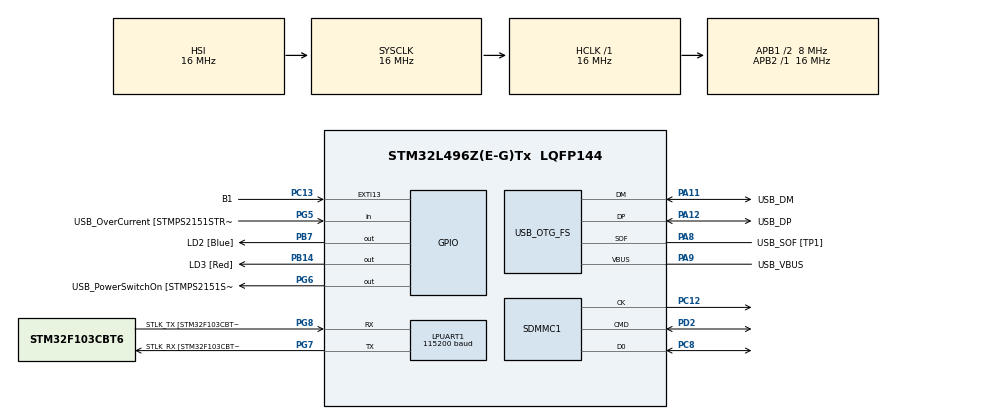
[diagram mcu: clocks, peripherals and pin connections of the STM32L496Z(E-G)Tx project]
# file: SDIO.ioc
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Dma.Request0=SDMMC1_RX
Dma.Request1=SDMMC1_TX
Dma.SDMMC1_RX.0.Direction=DMA_PERIPH_TO_MEMORY
Dma.SDMMC1_RX.0.Instance=DMA2_Channel4
Dma.SDMMC1_RX.0.MemDataAlignment=DMA_MDATAALIGN_WORD
Dma.SDMMC1_RX.0.MemInc=DMA_MINC_ENABLE
Dma.SDMMC1_RX.0.Mode=DMA_NORMAL
Dma.SDMMC1_RX.0.PeriphDataAlignment=DMA_PDATAALIGN_WORD
Dma.SDMMC1_RX.0.PeriphInc=DMA_PINC_DISABLE
Dma.SDMMC1_RX.0.Priority=DMA_PRIORITY_LOW
Dma.SDMMC1_TX.1.Direction=DMA_MEMORY_TO_PERIPH
Dma.SDMMC1_TX.1.Instance=DMA2_Channel5
Dma.SDMMC1_TX.1.MemDataAlignment=DMA_MDATAALIGN_WORD
Dma.SDMMC1_TX.1.MemInc=DMA_MINC_ENABLE
Dma.SDMMC1_TX.1.Mode=DMA_NORMAL
Dma.SDMMC1_TX.1.PeriphDataAlignment=DMA_PDATAALIGN_WORD
Dma.SDMMC1_TX.1.PeriphInc=DMA_PINC_DISABLE
Dma.SDMMC1_TX.1.Priority=DMA_PRIORITY_LOW
FATFS.USE_DMA_CODE_SD=1
FATFS._MAX_SS=512
LPUART1.BaudRate=115200
LPUART1.WordLength=UART_WORDLENGTH_8B
Mcu.Family=STM32L4
Mcu.Name=STM32L496Z(E-G)Tx
Mcu.Package=LQFP144
NVIC.DMA2_Channel4_IRQn=true\:0\:0\:false\:false\:true\:false\:true\:true
NVIC.DMA2_Channel5_IRQn=true\:0\:0\:false\:false\:true\:false\:true\:true
NVIC.PriorityGroup=NVIC_PRIORITYGROUP_4
NVIC.SDMMC1_IRQn=true\:0\:0\:false\:false\:true\:true\:true\:true
PA10.GPIO_Label=USB_ID
PA10.Signal=USB_OTG_FS_ID
PA11.GPIO_Label=USB_DM
PA11.Mode=Device_Only
PA11.Signal=USB_OTG_FS_DM
PA12.GPIO_Label=USB_DP
PA12.Mode=Device_Only
PA12.Signal=USB_OTG_FS_DP
PA13\ (JTMS/SWDIO).GPIO_Label=TMS
PA13\ (JTMS/SWDIO).Mode=Trace_Asynchronous_SW
PA13\ (JTMS/SWDIO).Signal=SYS_JTMS-SWDIO
PA14\ (JTCK/SWCLK).GPIO_Label=TCK
PA14\ (JTCK/SWCLK).Mode=Trace_Asynchronous_SW
PA14\ (JTCK/SWCLK).Signal=SYS_JTCK-SWCLK
PA8.GPIO_Label=USB_SOF [TP1]
PA8.Mode=Activate_SOF_FS
PA8.Signal=USB_OTG_FS_SOF
PA9.GPIO_Label=USB_VBUS
PA9.Mode=Activate_VBUS
PA9.Signal=USB_OTG_FS_VBUS
PB14.GPIO_Label=LD3 [Red]
PB14.Signal=GPIO_Output
PB3\ (JTDO/TRACESWO).GPIO_Label=SWO
PB3\ (JTDO/TRACESWO).Mode=Trace_Asynchronous_SW
PB3\ (JTDO/TRACESWO).Signal=SYS_JTDO-SWO
PB7.GPIO_Label=LD2 [Blue]
PB7.Signal=GPIO_Output
PC12.Mode=SD_1_bit
PC12.Signal=SDMMC1_CK
PC13.GPIO_Label=B1
PC13.Signal=GPXTI13
PC14-OSC32_IN\ (PC14).Mode=LSE-External-Oscillator
PC14-OSC32_IN\ (PC14).Signal=RCC_OSC32_IN
PC15-OSC32_OUT\ (PC15).Mode=LSE-External-Oscillator
PC15-OSC32_OUT\ (PC15).Signal=RCC_OSC32_OUT
PC8.Mode=SD_1_bit
PC8.Signal=SDMMC1_D0
PD2.Mode=SD_1_bit
PD2.Signal=SDMMC1_CMD
PG5.GPIO_Label=USB_OverCurrent [STMPS2151STR_FAULT]
PG5.Signal=GPIO_Input
PG6.GPIO_Label=USB_PowerSwitchOn [STMPS2151STR_EN]
PG6.Signal=GPIO_Output
PG7.GPIO_Label=STLK_RX [STM32F103CBT6_PA3]
PG7.Mode=Asynchronous
PG7.Signal=LPUART1_TX
PG8.GPIO_Label=STLK_TX [STM32F103CBT6_PA2]
PG8.Mode=Asynchronous
PG8.Signal=LPUART1_RX
PH1-OSC_OUT\ (PH1).Signal=RCC_OSC_OUT
ProjectManager.HeapSize=0x200
ProjectManager.StackSize=0x400
ProjectManager.TargetToolchain=STM32CubeIDE
RCC.48MHZClocksFreq_Value=24000000
RCC.ADCFreq_Value=48000000
RCC.AHBFreq_Value=16000000
RCC.APB1CLKDivider=RCC_HCLK_DIV2
RCC.APB1Freq_Value=8000000
RCC.APB1TimFreq_Value=16000000
RCC.APB2Freq_Value=16000000
RCC.APB2TimFreq_Value=16000000
RCC.CK48CLockSelection=RCC_USBCLKSOURCE_HSI48
RCC.CortexFreq_Value=16000000
RCC.HCLKFreq_Value=16000000
RCC.HSE_VALUE=8000000
RCC.HSI48_VALUE=48000000
RCC.HSI_VALUE=16000000
RCC.MSI_VALUE=4000000
RCC.PLLMUL=RCC_PLL_MUL9
RCC.PLLN=71
RCC.PLLR=RCC_PLLR_DIV6
RCC.PLLSAI1N=24
RCC.PRESCALERUSB=RCC_USBCLKSOURCE_PLL_DIV1_5
RCC.SYSCLKFreq_VALUE=16000000
RCC.SYSCLKSource=RCC_SYSCLKSOURCE_HSI
RCC.SYSCLKSourceVirtual=RCC_SYSCLKSOURCE_PLLCLK
RCC.USBFreq_Value=48000000
RCC.VCOOutputFreq_Value=284000000
USB_OTG_FS.VirtualMode=Device_Only
VP_FATFS_VS_SDIO.Mode=SDIO
board=NUCLEO-L496ZG

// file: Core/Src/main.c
/* USER CODE BEGIN Header */
/**
  ******************************************************************************
  * @file           : main.c
  * @brief          : Main program body
  ******************************************************************************
  * @attention
  *
  * Copyright (c) 2024 STMicroelectronics.
  * All rights reserved.
  *
  * This software is licensed under terms that can be found in the LICENSE file
  * in the root directory of this software component.
  * If no LICENSE file comes with this software, it is provided AS-IS.
  *
  ******************************************************************************
  */
/* USER CODE END Header */
#include "main.h"
#include "dma.h"
#include "fatfs.h"
#include "usart.h"
#include "sdmmc.h"
#include "usb_otg.h"
#include "gpio.h"
#include "stdio.h"
/* USER CODE BEGIN Includes */
#include "string.h"
/* USER CODE END Includes */

/* USER CODE BEGIN PTD */
//deneme
/* USER CODE END PTD */

/* USER CODE BEGIN PV */
FIL myFile;
FRESULT res;
UINT bytesWritten;
/* USER CODE END PV */

void SystemClock_Config(void);
/* USER CODE BEGIN PFP */
//void WriteToSDCard(void);
void FormatAndWriteToSDCard(void);
/* USER CODE END PFP */

/* USER CODE BEGIN 0 */
#include "stm32l4xx_hal.h"

void FormatAndCheckSDCard(void) {
    FATFS FatFs;
    FIL fil;
    DIR dir;
    FILINFO fno;
    FRESULT res;
    BYTE work[_MAX_SS];
    char buffer[100];

    res = f_mount(&FatFs, "", 0);
    if (res != FR_OK) {
        snprintf(buffer, sizeof(buffer), "SD kart montaji basarisiz oldu: %d\r\n", res);
        HAL_UART_Transmit(&hlpuart1, (uint8_t *)buffer, strlen(buffer), HAL_MAX_DELAY);
        return;
    }

    res = f_mkfs("", FM_FAT32, 0, work, sizeof(work));
    if (res != FR_OK) {
        snprintf(buffer, sizeof(buffer), "SD kart formatlama basarisiz oldu: %d\r\n", res);
        HAL_UART_Transmit(&hlpuart1, (uint8_t *)buffer, strlen(buffer), HAL_MAX_DELAY);
        return;
    } else {
        snprintf(buffer, sizeof(buffer), "SD kart basariyla formatlandi.\r\n");
        HAL_UART_Transmit(&hlpuart1, (uint8_t *)buffer, strlen(buffer), HAL_MAX_DELAY);
    }

    res = f_mount(&FatFs, "", 1);
    if (res != FR_OK) {
        snprintf(buffer, sizeof(buffer), "SD kart montaji basarisiz oldu: %d\r\n", res);
        HAL_UART_Transmit(&hlpuart1, (uint8_t *)buffer, strlen(buffer), HAL_MAX_DELAY);
        return;
    }

    res = f_open(&fil, "program.txt", FA_CREATE_ALWAYS | FA_WRITE);
    if (res == FR_OK) {
        char writeText[] = "Hello STM32";
        UINT bytesWritten;
        res = f_write(&fil, writeText, strlen(writeText), &bytesWritten);
        f_close(&fil);

        if (res == FR_OK && bytesWritten == strlen(writeText)) {
            snprintf(buffer, sizeof(buffer), "Dosya basariyla olusturuldu ve yazildi.\r\n");
            HAL_UART_Transmit(&hlpuart1, (uint8_t *)buffer, strlen(buffer), HAL_MAX_DELAY);
        } else {
            snprintf(buffer, sizeof(buffer), "Dosyaya yazma basarisiz oldu: %d\r\n", res);
            HAL_UART_Transmit(&hlpuart1, (uint8_t *)buffer, strlen(buffer), HAL_MAX_DELAY);
        }
    } else {
        snprintf(buffer, sizeof(buffer), "Dosya olusturma basarisiz oldu: %d\r\n", res);
        HAL_UART_Transmit(&hlpuart1, (uint8_t *)buffer, strlen(buffer), HAL_MAX_DELAY);
        return;
    }

//    res = f_opendir(&dir, "/");
//    if (res == FR_OK) {
//        while (1) {
//            res = f_readdir(&dir, &fno);
//            if (res != FR_OK || fno.fname[0] == '\0') break;
//
//            snprintf(buffer, sizeof(buffer), "Dosya bulundu: %s\r\n", fno.fname);
//            HAL_UART_Transmit(&hlpuart1, (uint8_t *)buffer, strlen(buffer), HAL_MAX_DELAY);
//        }
//        f_closedir(&dir);
//
//        if (fno.fname[0] == '\0') {
//            snprintf(buffer, sizeof(buffer), "Format basarili, kok dizin bos.\r\n");
//            HAL_UART_Transmit(&hlpuart1, (uint8_t *)buffer, strlen(buffer), HAL_MAX_DELAY);
//        } else {
//            snprintf(buffer, sizeof(buffer), "Kok dizin bos degil.\r\n");
//            HAL_UART_Transmit(&hlpuart1, (uint8_t *)buffer, strlen(buffer), HAL_MAX_DELAY);
//        }
//    } else {
//        snprintf(buffer, sizeof(buffer), "Kok dizin acilamadi: %d\r\n", res);
//        HAL_UART_Transmit(&hlpuart1, (uint8_t *)buffer, strlen(buffer), HAL_MAX_DELAY);
//    }

    f_mount(NULL, "", 0);
}

//void WriteToSDCard(void) {
//    HAL_GPIO_WritePin(LD2_GPIO_Port, LD2_Pin, GPIO_PIN_RESET);
//    HAL_GPIO_WritePin(LD3_GPIO_Port, LD3_Pin, GPIO_PIN_RESET);
//
//    const char *message = "Merhaba STM32!\r\n";
//
//    if (FATFS_GetAttachedDriversNbr() < _VOLUMES) MX_FATFS_Init();
//
//    if (f_mount(&SDFatFS, SDPath, 1) == FR_OK) {
//
//        res = f_open(&myFile, "test.txt", FA_OPEN_APPEND | FA_WRITE);
//        if (res == FR_OK) {
//            res = f_write(&myFile, message, strlen(message), &bytesWritten);
//            if (res == FR_OK) {
//
//                f_close(&myFile);
//                HAL_UART_Transmit(&hlpuart1, (uint8_t *)"Dosya basariyla yazdirildi!\r\n", 26, HAL_MAX_DELAY);
//                HAL_GPIO_WritePin(LD2_GPIO_Port, LD2_Pin, GPIO_PIN_SET);
//            } else {
//
//                HAL_UART_Transmit(&hlpuart1, (uint8_t *)"Dosya yazma hatasi\r\n", 21, HAL_MAX_DELAY);
//                HAL_GPIO_WritePin(LD3_GPIO_Port, LD3_Pin, GPIO_PIN_SET);
//            }
//        } else {
//
//            HAL_UART_Transmit(&hlpuart1, (uint8_t *)"Dosya acilamadi.\r\n", 18, HAL_MAX_DELAY);
//            HAL_GPIO_WritePin(LD3_GPIO_Port, LD3_Pin, GPIO_PIN_SET);
//        }
//
//        f_mount(0, "", 0);
//    } else {
//
//    	if (FATFS_GetAttachedDriversNbr() > 0)
//    		FATFS_UnLinkDriver(SDPath);
//
//        HAL_UART_Transmit(&hlpuart1, (uint8_t *)"SD Kart mount edilemedi.\r\n", 27, HAL_MAX_DELAY);
//        HAL_GPIO_WritePin(LD3_GPIO_Port, LD3_Pin, GPIO_PIN_SET);
//    }
//}

//void FormatAndWriteToSDCard(void) {
//    FATFS SDFatFS;   // File system object
//    FIL myFile;      // File object
//    FRESULT res;     // Function result
//    BYTE work[_MAX_SS];  // Working buffer
//    UINT bytesWritten;
//    const char *message = "Merhaba STM32!\r\n";
//
//    HAL_GPIO_WritePin(LD2_GPIO_Port, LD2_Pin, GPIO_PIN_RESET);
//    HAL_GPIO_WritePin(LD3_GPIO_Port, LD3_Pin, GPIO_PIN_RESET);
//
//    if (FATFS_GetAttachedDriversNbr() < _VOLUMES) MX_FATFS_Init();
//
//    res = f_mount(&SDFatFS, SDPath, 0);
//    if (res != FR_OK) {
//        // SD kart montajı başarısız oldu
//        HAL_UART_Transmit(&hlpuart1, (uint8_t *)"SD Kart montajı başarısız.\r\n", 29, HAL_MAX_DELAY);
//        HAL_GPIO_WritePin(LD3_GPIO_Port, LD3_Pin, GPIO_PIN_SET);
//        return;
//    }
//
//    res = f_mkfs("", FM_FAT32, 0, work, sizeof(work));
//    if (res != FR_OK) {
//        // Formatlama başarısız oldu
//        HAL_UART_Transmit(&hlpuart1, (uint8_t *)"SD Kart formatlama başarısız.\r\n", 32, HAL_MAX_DELAY);
//        HAL_GPIO_WritePin(LD3_GPIO_Port, LD3_Pin, GPIO_PIN_SET);
//        return;
//    } else {
//        HAL_UART_Transmit(&hlpuart1, (uint8_t *)"SD Kart başarıyla formatlandı.\r\n", 33, HAL_MAX_DELAY);
//    }
//
//    // 4. SD kartı tekrar monte edin
//    res = f_mount(&SDFatFS, SDPath, 1);
//    if (res != FR_OK) {
//        // Format sonrası montaj başarısız oldu
//        HAL_UART_Transmit(&hlpuart1, (uint8_t *)"SD Kart montajı başarısız (format sonrası).\r\n", 47, HAL_MAX_DELAY);
//        HAL_GPIO_WritePin(LD3_GPIO_Port, LD3_Pin, GPIO_PIN_SET);
//        return;
//    }
//
//    // 5. Test dosyasını aç ve "Merhaba STM32!" yaz
//    res = f_open(&myFile, "test.txt", FA_CREATE_ALWAYS | FA_WRITE);
//    if (res == FR_OK) {
//        res = f_write(&myFile, message, strlen(message), &bytesWritten);
//        if (res == FR_OK && bytesWritten == strlen(message)) {
//            // Dosya başarıyla yazıldı
//            f_close(&myFile);
//            HAL_UART_Transmit(&hlpuart1, (uint8_t *)"Dosya başarıyla yazdırıldı!\r\n", 30, HAL_MAX_DELAY);
//            HAL_GPIO_WritePin(LD2_GPIO_Port, LD2_Pin, GPIO_PIN_SET);  // Başarı LED'i
//        } else {
//            // Dosyaya yazma hatası
//            HAL_UART_Transmit(&hlpuart1, (uint8_t *)"Dosya yazma hatası.\r\n", 21, HAL_MAX_DELAY);
//            HAL_GPIO_WritePin(LD3_GPIO_Port, LD3_Pin, GPIO_PIN_SET);  // Hata LED'i
//        }
//    } else {
//        // Dosya açma hatası
//        HAL_UART_Transmit(&hlpuart1, (uint8_t *)"Dosya açılamadı.\r\n", 18, HAL_MAX_DELAY);
//        HAL_GPIO_WritePin(LD3_GPIO_Port, LD3_Pin, GPIO_PIN_SET);  // Hata LED'i
//    }
//
//    // 6. SD kartın bağlantısını kapatın
//    f_mount(NULL, "", 0);
//    if (FATFS_GetAttachedDriversNbr() > 0)
//        FATFS_UnLinkDriver(SDPath);
//}

/* USER CODE END 0 */

int main(void)
{

  /* MCU Configuration--------------------------------------------------------*/

  /* Reset of all peripherals, Initializes the Flash interface and the Systick. */
  HAL_Init();

  /* Configure the system clock */
  SystemClock_Config();

  /* Initialize all configured peripherals */
  MX_GPIO_Init();
  MX_DMA_Init();
  MX_LPUART1_UART_Init();
  MX_USB_OTG_FS_PCD_Init();
  MX_SDMMC1_SD_Init();
  MX_FATFS_Init();

  /* Infinite loop */
  /* USER CODE BEGIN WHILE */
  FormatAndCheckSDCard();
  while (1)
  {
	 HAL_Delay(500);
	// WriteToSDCard();
    /* USER CODE END WHILE */

  }
}

void SystemClock_Config(void)
{
  RCC_OscInitTypeDef RCC_OscInitStruct = {0};
  RCC_ClkInitTypeDef RCC_ClkInitStruct = {0};

  /** Configure the main internal regulator output voltage
  */
  if (HAL_PWREx_ControlVoltageScaling(PWR_REGULATOR_VOLTAGE_SCALE1) != HAL_OK)
  {
    Error_Handler();
  }

  /** Initializes the RCC Oscillators according to the specified parameters
  * in the RCC_OscInitTypeDef structure.
  */
  RCC_OscInitStruct.OscillatorType = RCC_OSCILLATORTYPE_HSI48|RCC_OSCILLATORTYPE_HSI;
  RCC_OscInitStruct.HSIState = RCC_HSI_ON;
  RCC_OscInitStruct.HSI48State = RCC_HSI48_ON;
  RCC_OscInitStruct.HSICalibrationValue = RCC_HSICALIBRATION_DEFAULT;
  RCC_OscInitStruct.PLL.PLLState = RCC_PLL_NONE;
  if (HAL_RCC_OscConfig(&RCC_OscInitStruct) != HAL_OK)
  {
    Error_Handler();
  }

  /** Initializes the CPU, AHB and APB buses clocks
  */
  RCC_ClkInitStruct.ClockType = RCC_CLOCKTYPE_HCLK|RCC_CLOCKTYPE_SYSCLK
                              |RCC_CLOCKTYPE_PCLK1|RCC_CLOCKTYPE_PCLK2;
  RCC_ClkInitStruct.SYSCLKSource = RCC_SYSCLKSOURCE_HSI;
  RCC_ClkInitStruct.AHBCLKDivider = RCC_SYSCLK_DIV1;
  RCC_ClkInitStruct.APB1CLKDivider = RCC_HCLK_DIV2;
  RCC_ClkInitStruct.APB2CLKDivider = RCC_HCLK_DIV1;

  if (HAL_RCC_ClockConfig(&RCC_ClkInitStruct, FLASH_LATENCY_0) != HAL_OK)
  {
    Error_Handler();
  }
}

void Error_Handler(void)
{
  __disable_irq();
  while (1)
  {
  }
}
